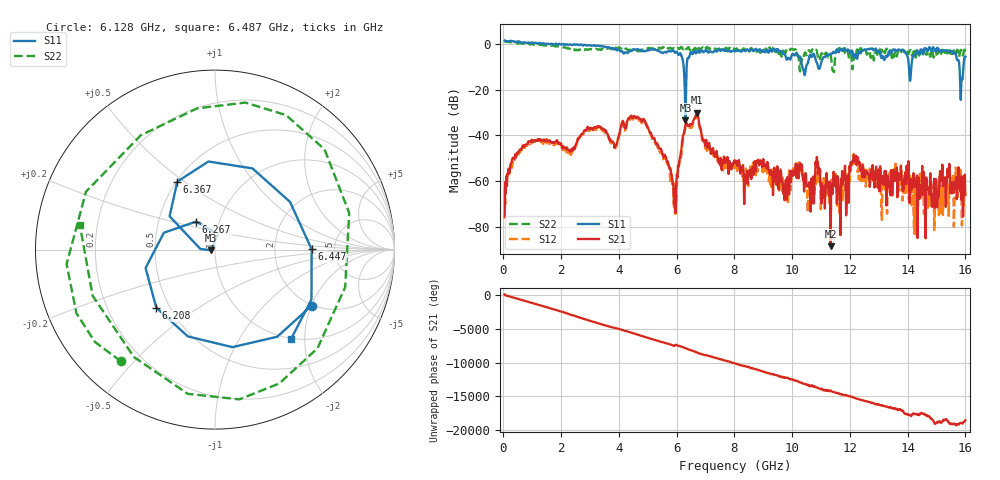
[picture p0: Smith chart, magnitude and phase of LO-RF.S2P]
! C:\Users\Aljaz\OneDrive - Univerza v Ljubljani\DOKTORAT\NOVI SA\MIX1\LO-RF.S2P
! Touchstone 1.1 file saved by VNA.EXE V1.65 (www.ke5fx.com/gpib/readme.htm)
! 23. 07. 2022 09:37:42
!  Source: HP8510C.07.14: Aug 26  1998
!  Min freq: 4.500000E+007 Hz
!  Max freq: 1.600000E+010 Hz
!  Points: 801
!  Params: S11 S21 S12 S22
# GHZ S DB R 50
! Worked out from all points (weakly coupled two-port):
!   801 points, 45 MHz to 16 GHz, reference 50 ohm
!   highest |S21| = -30.03 dB at 6.706 GHz (marker M1); lowest = -88.4 dB at 11.33 GHz (marker M2)
!   lowest |S11| = -33.4 dB at 6.307 GHz (marker M3), VSWR 1.04, Z = 47.9 - j0.322 ohm
!   |S11| at or under -10 dB: 6.244 GHz to 6.348 GHz (103.8 MHz wide, 1.65 % of centre); 10.35 GHz to 10.49 GHz (136 MHz wide, 1.31 % of centre); 15.79 GHz to 15.93 GHz (140.3 MHz wide, 0.885 % of centre) (the widest 3 of 5)
!   |S22| runs from -12.4 to 1.3 dB; largest |S21 - S12| = 0.012
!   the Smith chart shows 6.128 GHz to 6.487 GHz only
!   S11 on the Smith chart (normalised r, x): 6.128 GHz: 1.98, -2.01; 6.208 GHz: 0.42, -0.35; 6.267 GHz: 0.78, +0.25; 6.367 GHz: 0.51, +0.47; 6.447 GHz: 3.33, +0.02; 6.487 GHz: 0.98, -1.72
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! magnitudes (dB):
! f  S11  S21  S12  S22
! 45 MHz  1.5  -75.8  -63.6  1.3
! 723.1 MHz  0.6  -45.1  -45.4  -0.2
! 2.717 GHz  -0.3  -39.5  -39.6  -2.6
! 3.874 GHz  -2.0  -44.3  -45.5  -1.8
! 4.592 GHz  -2.6  -32.6  -33.1  -2.8
! 5.37 GHz  -2.9  -44.5  -45.2  -2.0
! 5.928 GHz  -3.7  -64.0  -61.2  -2.0
! 6.128 GHz  -4.1  -49.3  -49.2  -1.8
! 6.208 GHz  -6.7  -41.3  -42.9  -2.1
! 6.267 GHz  -14.5  -38.1  -39.0  -1.6
! 6.307 GHz  -33.4  -35.3  -36.5  -1.6
! 6.367 GHz  -7.3  -35.4  -36.6  -2.0
! 6.447 GHz  -5.4  -35.8  -36.7  -2.5
! 6.487 GHz  -3.7  -35.4  -36.5  -2.3
! 6.706 GHz  -3.4  -30.0  -31.0  -3.4
! 8.023 GHz  -3.3  -52.0  -50.8  -2.9
! 10.69 GHz  -5.5  -69.7  -64.8  -2.6
! 10.87 GHz  -8.9  -50.9  -58.5  -4.4
! 11.33 GHz  -4.4  -88.4  -65.6  -5.0
! 12.21 GHz  -5.0  -48.8  -51.7  -4.9
! 13.35 GHz  -3.6  -60.4  -56.9  -5.0
! 16 GHz  -5.7  -66.0  -58.7  -3.3
